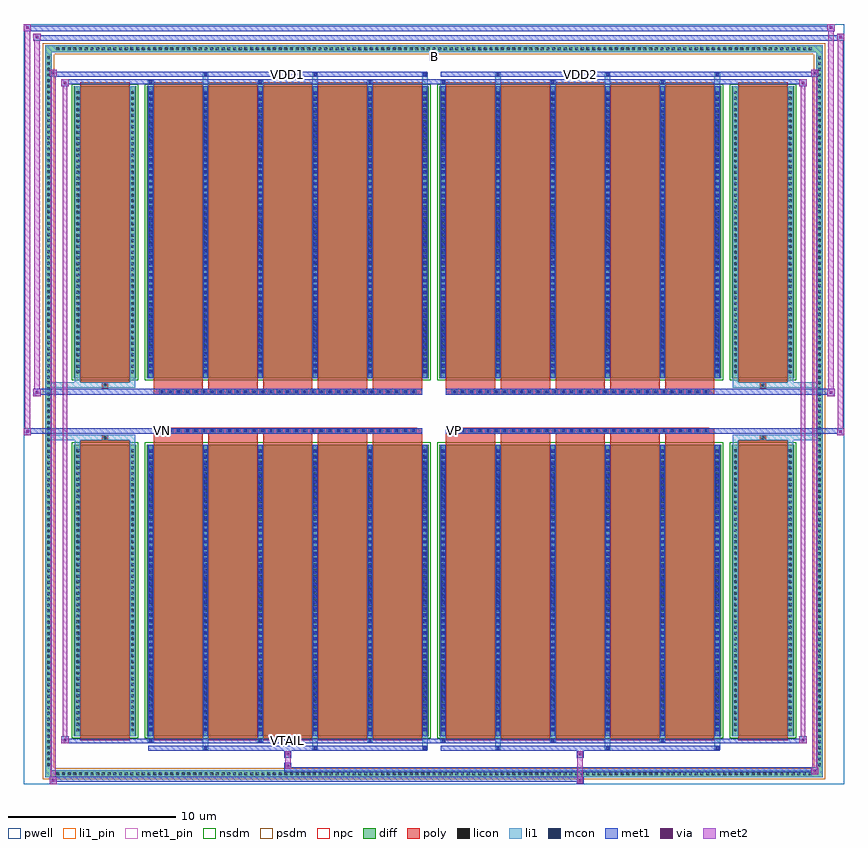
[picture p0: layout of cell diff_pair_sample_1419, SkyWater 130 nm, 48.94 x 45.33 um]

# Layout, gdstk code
import gdstk
lib = gdstk.Library(unit=1e-6, precision=5e-09)
def R(c, l, rs):  # rectangles x0, y0, x1, y1
    for r in rs: c.add(gdstk.rectangle(r[:2], r[2:], *l))
def A(c, l, x, y, w, h, nx, ny, dx, dy):  # array of equal rectangles
    R(c, l, [(x+i*dx, y+j*dy, x+i*dx+w, y+j*dy+h) for i in range(nx) for j in range(ny)])
def P(c, l, *ps):  # polygons
    for p in ps: c.add(gdstk.Polygon(p, *l))
pwell = (64, 44)
diff = (65, 20)
poly = (66, 20)
licon = (66, 44)
li1_pin = (67, 16)
li1 = (67, 20)
mcon = (67, 44)
met1_pin = (68, 16)
met1 = (68, 20)
via = (68, 44)
met2 = (69, 20)
nsdm = (93, 44)
psdm = (94, 20)
npc = (95, 20)

diff_pair_sample_1419 = lib.new_cell('diff_pair_sample_1419')
R(diff_pair_sample_1419, pwell, [(-24.47,-22.23,24.47,23.1), (-21.79,-20.42,-0.01,-0.8), (0.01,-20.42,21.79,-0.8), (-21.79,0.8,-0.01,20.42), (0.01,0.8,21.79,20.42)])
A(diff_pair_sample_1419, diff, -22.645, -21.83, 0.41, 0.41, 133, 2, 0.34, 43.25)
A(diff_pair_sample_1419, diff, -23.2, -21.285, 0.41, 0.41, 1, 125, 0, 0.34)
A(diff_pair_sample_1419, diff, 22.79, -21.285, 0.41, 0.41, 1, 125, 0, 0.34)
R(diff_pair_sample_1419, diff, [(-22.645,-21.83,22.645,-21.42), (-23.2,-21.285,-22.79,21.285), (22.79,-21.285,23.2,21.285), (-21.48,-19.375,-17.76,-1.985), (-17.12,-19.375,-0.32,-1.985), (0.32,-19.375,17.12,-1.985), (17.76,-19.375,21.48,-1.985), (-21.48,1.985,-17.76,19.375), (-17.12,1.985,-0.32,19.375), (0.32,1.985,17.12,19.375), (17.76,1.985,21.48,19.375), (-22.645,21.42,22.645,21.83)])
P(diff_pair_sample_1419, diff, [(23.2,21.83),(-23.2,21.83),(-23.2,-21.42),(-22.79,-21.42),(-22.79,21.42),(22.79,21.42),(22.79,-21.42),(-22.79,-21.42),(-23.2,-21.42),(-23.2,-21.83),(23.2,-21.83)])
A(diff_pair_sample_1419, poly, -16.73, -19.625, 2.94, 17.89, 5, 2, 3.27, 21.36)
A(diff_pair_sample_1419, poly, 0.71, -19.625, 2.94, 17.89, 5, 2, 3.27, 21.36)
A(diff_pair_sample_1419, poly, -16.73, -1.735, 2.94, 0.405, 5, 2, 3.27, 3.065)
A(diff_pair_sample_1419, poly, 0.71, -1.735, 2.94, 0.405, 5, 2, 3.27, 3.065)
A(diff_pair_sample_1419, poly, -16.385, -1.33, 0.33, 0.33, 31, 2, 0.5, 2.33)
A(diff_pair_sample_1419, poly, 1.055, -1.33, 0.33, 0.33, 31, 2, 0.5, 2.33)
R(diff_pair_sample_1419, poly, [(-21.09,-19.625,-18.15,-1.735), (18.15,-19.625,21.09,-1.735), (-19.785,-1.735,-19.455,-1.405), (-19.785,-1.735,-19.455,-1.405), (19.455,-1.735,19.785,-1.405), (19.455,-1.735,19.785,-1.405), (-16.73,-1.33,-0.71,-1), (0.71,-1.33,16.73,-1), (-16.73,1,-0.71,1.33), (0.71,1,16.73,1.33), (-19.785,1.405,-19.455,1.735), (-19.785,1.405,-19.455,1.735), (19.455,1.405,19.785,1.735), (19.455,1.405,19.785,1.735), (-21.09,1.735,-18.15,19.625), (18.15,1.735,21.09,19.625)])
A(diff_pair_sample_1419, licon, -22.525, -21.71, 0.17, 0.17, 133, 2, 0.34, 43.25)
A(diff_pair_sample_1419, licon, -23.08, -21.165, 0.17, 0.17, 1, 125, 0, 0.34)
A(diff_pair_sample_1419, licon, 22.91, -21.165, 0.17, 0.17, 1, 125, 0, 0.34)
A(diff_pair_sample_1419, licon, -21.34, -19.095, 0.17, 0.17, 1, 50, 0, 0.34)
A(diff_pair_sample_1419, licon, -18.07, -19.095, 0.17, 0.17, 1, 50, 0, 0.34)
A(diff_pair_sample_1419, licon, -16.98, -19.095, 0.17, 0.17, 6, 50, 3.27, 0.34)
A(diff_pair_sample_1419, licon, 0.46, -19.095, 0.17, 0.17, 6, 50, 3.27, 0.34)
A(diff_pair_sample_1419, licon, 17.9, -19.095, 0.17, 0.17, 1, 50, 0, 0.34)
A(diff_pair_sample_1419, licon, 21.17, -19.095, 0.17, 0.17, 1, 50, 0, 0.34)
A(diff_pair_sample_1419, licon, -16.305, -1.25, 0.17, 0.17, 31, 2, 0.5, 2.33)
A(diff_pair_sample_1419, licon, 1.135, -1.25, 0.17, 0.17, 31, 2, 0.5, 2.33)
A(diff_pair_sample_1419, licon, -21.34, 2.265, 0.17, 0.17, 1, 50, 0, 0.34)
A(diff_pair_sample_1419, licon, -18.07, 2.265, 0.17, 0.17, 1, 50, 0, 0.34)
A(diff_pair_sample_1419, licon, -16.98, 2.265, 0.17, 0.17, 6, 50, 3.27, 0.34)
A(diff_pair_sample_1419, licon, 0.46, 2.265, 0.17, 0.17, 6, 50, 3.27, 0.34)
A(diff_pair_sample_1419, licon, 17.9, 2.265, 0.17, 0.17, 1, 50, 0, 0.34)
A(diff_pair_sample_1419, licon, 21.17, 2.265, 0.17, 0.17, 1, 50, 0, 0.34)
R(diff_pair_sample_1419, licon, [(-19.705,-1.655,-19.535,-1.485), (19.535,-1.655,19.705,-1.485), (-19.705,1.485,-19.535,1.655), (19.535,1.485,19.705,1.655)])
R(diff_pair_sample_1419, li1_pin, [(-0.25,20.92,0.25,21.42)])
A(diff_pair_sample_1419, li1, -22.605, -21.79, 0.33, 0.33, 133, 2, 0.34, 43.25)
A(diff_pair_sample_1419, li1, -23.16, -21.245, 0.33, 0.33, 1, 125, 0, 0.34)
A(diff_pair_sample_1419, li1, 22.83, -21.245, 0.33, 0.33, 1, 125, 0, 0.34)
A(diff_pair_sample_1419, li1, -13.79, -20.18, 0.33, 0.805, 3, 2, 6.54, 39.555)
A(diff_pair_sample_1419, li1, -13.71, -20.18, 0.17, 0.17, 3, 2, 6.54, 40.19)
A(diff_pair_sample_1419, li1, 3.65, -20.18, 0.33, 0.805, 3, 2, 6.54, 39.555)
A(diff_pair_sample_1419, li1, 3.73, -20.18, 0.17, 0.17, 3, 2, 6.54, 40.19)
A(diff_pair_sample_1419, li1, -17.06, -19.75, 0.33, 0.375, 3, 2, 6.54, 39.125)
A(diff_pair_sample_1419, li1, -16.98, -19.75, 0.17, 0.17, 3, 2, 6.54, 39.33)
A(diff_pair_sample_1419, li1, 0.38, -19.75, 0.33, 0.375, 3, 2, 6.54, 39.125)
A(diff_pair_sample_1419, li1, 0.46, -19.75, 0.17, 0.17, 3, 2, 6.54, 39.33)
A(diff_pair_sample_1419, li1, -17.06, -19.375, 0.33, 17.39, 6, 2, 3.27, 21.36)
A(diff_pair_sample_1419, li1, 0.38, -19.375, 0.33, 17.39, 6, 2, 3.27, 21.36)
A(diff_pair_sample_1419, li1, -21.42, -19.175, 0.33, 0.33, 1, 50, 0, 0.34)
A(diff_pair_sample_1419, li1, -18.15, -19.175, 0.33, 0.33, 1, 50, 0, 0.34)
A(diff_pair_sample_1419, li1, -17.06, -19.175, 0.33, 0.33, 6, 50, 3.27, 0.34)
A(diff_pair_sample_1419, li1, 0.38, -19.175, 0.33, 0.33, 6, 50, 3.27, 0.34)
A(diff_pair_sample_1419, li1, 17.82, -19.175, 0.33, 0.33, 1, 50, 0, 0.34)
A(diff_pair_sample_1419, li1, 21.09, -19.175, 0.33, 0.33, 1, 50, 0, 0.34)
A(diff_pair_sample_1419, li1, -16.98, -19.045, 0.17, 0.17, 6, 47, 3.27, 0.36)
A(diff_pair_sample_1419, li1, -16.98, -19.045, 0.17, 16.73, 6, 2, 3.27, 21.36)
A(diff_pair_sample_1419, li1, 0.46, -19.045, 0.17, 0.17, 6, 47, 3.27, 0.36)
A(diff_pair_sample_1419, li1, 0.46, -19.045, 0.17, 16.73, 6, 2, 3.27, 21.36)
A(diff_pair_sample_1419, li1, -16.385, -1.33, 0.33, 0.33, 31, 2, 0.5, 2.33)
A(diff_pair_sample_1419, li1, 1.055, -1.33, 0.33, 0.33, 31, 2, 0.5, 2.33)
A(diff_pair_sample_1419, li1, -21.42, 2.185, 0.33, 0.33, 1, 50, 0, 0.34)
A(diff_pair_sample_1419, li1, -18.15, 2.185, 0.33, 0.33, 1, 50, 0, 0.34)
A(diff_pair_sample_1419, li1, -17.06, 2.185, 0.33, 0.33, 6, 50, 3.27, 0.34)
A(diff_pair_sample_1419, li1, 0.38, 2.185, 0.33, 0.33, 6, 50, 3.27, 0.34)
A(diff_pair_sample_1419, li1, 17.82, 2.185, 0.33, 0.33, 1, 50, 0, 0.34)
A(diff_pair_sample_1419, li1, 21.09, 2.185, 0.33, 0.33, 1, 50, 0, 0.34)
A(diff_pair_sample_1419, li1, -16.98, 2.315, 0.17, 0.17, 6, 47, 3.27, 0.36)
A(diff_pair_sample_1419, li1, 0.46, 2.315, 0.17, 0.17, 6, 47, 3.27, 0.36)
R(diff_pair_sample_1419, li1, [(-23.2,-21.83,-22.79,-21.42), (-23.2,-21.83,-22.79,-21.42), (-22.79,-21.83,22.79,-21.42), (22.79,-21.83,23.2,-21.42), (22.79,-21.83,23.2,-21.42), (-23.2,-21.42,-22.79,21.42), (22.79,-21.42,23.2,21.42), (-21.42,-19.375,-21.09,-1.985), (-18.15,-19.375,-17.82,-1.985), (17.82,-19.375,18.15,-1.985), (21.09,-19.375,21.42,-1.985), (-21.42,-1.985,-21.09,-1.405), (-18.15,-1.985,-17.82,-1.405), (17.82,-1.985,18.15,-1.405), (21.09,-1.985,21.42,-1.405), (-23.2,-1.735,-19.785,-1.405), (-21.42,-1.735,-19.785,-1.405), (-19.785,-1.735,-19.455,-1.405), (-19.455,-1.735,-17.82,-1.405), (17.82,-1.735,19.455,-1.405), (19.455,-1.735,19.785,-1.405), (19.455,-1.735,23.2,-1.405), (19.785,-1.735,21.42,-1.405), (-23.2,1.405,-19.785,1.735), (-21.42,1.405,-19.785,1.735), (-21.42,1.405,-21.09,1.985), (-19.785,1.405,-19.455,1.735), (-19.455,1.405,-17.82,1.735), (-18.15,1.405,-17.82,1.985), (17.82,1.405,19.455,1.735), (17.82,1.405,18.15,1.985), (19.455,1.405,19.785,1.735), (19.455,1.405,23.2,1.735), (19.785,1.405,21.42,1.735), (21.09,1.405,21.42,1.985), (-21.42,1.985,-21.09,19.375), (-18.15,1.985,-17.82,19.375), (17.82,1.985,18.15,19.375), (21.09,1.985,21.42,19.375), (-23.2,21.42,-22.79,21.83), (-23.2,21.42,-22.79,21.83), (-22.79,21.42,22.79,21.83), (22.79,21.42,23.2,21.83), (22.79,21.42,23.2,21.83)])
A(diff_pair_sample_1419, mcon, -13.71, -20.18, 0.17, 0.17, 3, 2, 6.54, 40.19)
A(diff_pair_sample_1419, mcon, 3.73, -20.18, 0.17, 0.17, 3, 2, 6.54, 40.19)
A(diff_pair_sample_1419, mcon, -16.98, -19.75, 0.17, 0.17, 3, 2, 6.54, 39.33)
A(diff_pair_sample_1419, mcon, 0.46, -19.75, 0.17, 0.17, 3, 2, 6.54, 39.33)
A(diff_pair_sample_1419, mcon, -16.98, -19.045, 0.17, 0.17, 6, 47, 3.27, 0.36)
A(diff_pair_sample_1419, mcon, 0.46, -19.045, 0.17, 0.17, 6, 47, 3.27, 0.36)
A(diff_pair_sample_1419, mcon, -16.305, -1.25, 0.17, 0.17, 31, 2, 0.5, 2.33)
A(diff_pair_sample_1419, mcon, 1.135, -1.25, 0.17, 0.17, 31, 2, 0.5, 2.33)
A(diff_pair_sample_1419, mcon, -16.98, 2.315, 0.17, 0.17, 6, 47, 3.27, 0.36)
A(diff_pair_sample_1419, mcon, 0.46, 2.315, 0.17, 0.17, 6, 47, 3.27, 0.36)
R(diff_pair_sample_1419, met1_pin, [(-8.855,-19.79,-8.585,-19.52), (-16.355,-1.29,-16.085,-1.02), (1.085,-1.29,1.355,-1.02), (-8.855,19.97,-8.585,20.24), (8.585,19.97,8.855,20.24)])
A(diff_pair_sample_1419, met1, -13.77, -20.24, 0.29, 0.29, 3, 2, 6.54, 40.19)
A(diff_pair_sample_1419, met1, 3.67, -20.24, 0.29, 0.29, 3, 2, 6.54, 40.19)
A(diff_pair_sample_1419, met1, -17.04, -19.81, 0.29, 0.29, 3, 2, 6.54, 39.33)
A(diff_pair_sample_1419, met1, 0.4, -19.81, 0.29, 0.29, 3, 2, 6.54, 39.33)
A(diff_pair_sample_1419, met1, -17.04, -19.375, 0.29, 17.39, 6, 2, 3.27, 21.36)
A(diff_pair_sample_1419, met1, 0.4, -19.375, 0.29, 17.39, 6, 2, 3.27, 21.36)
A(diff_pair_sample_1419, met1, -17.04, -19.105, 0.29, 0.29, 6, 47, 3.27, 0.36)
A(diff_pair_sample_1419, met1, 0.4, -19.105, 0.29, 0.29, 6, 47, 3.27, 0.36)
A(diff_pair_sample_1419, met1, -16.365, -1.31, 0.29, 0.29, 31, 2, 0.5, 2.33)
A(diff_pair_sample_1419, met1, 1.075, -1.31, 0.29, 0.29, 31, 2, 0.5, 2.33)
A(diff_pair_sample_1419, met1, -17.04, 2.255, 0.29, 0.29, 6, 47, 3.27, 0.36)
A(diff_pair_sample_1419, met1, 0.4, 2.255, 0.29, 0.29, 6, 47, 3.27, 0.36)
R(diff_pair_sample_1419, met1, [(-22.93,-22.23,-22.5,-21.8), (8.505,-22.23,8.935,-21.8), (-22.93,-22.09,8.935,-21.8), (22.5,-21.66,22.93,-21.23), (-8.935,-21.52,22.93,-21.23), (-8.935,-21.38,-8.505,-20.95), (-8.935,-20.67,-8.505,-20.24), (8.505,-20.67,8.935,-20.24), (-17.04,-20.24,-0.4,-19.95), (0.4,-20.24,17.04,-19.95), (-22.22,-19.81,-21.79,-19.38), (-22.22,-19.81,-17.04,-19.52), (-17.04,-19.81,-0.4,-19.52), (-0.4,-19.81,0.4,-19.52), (0.4,-19.81,17.04,-19.52), (17.04,-19.81,22.22,-19.52), (21.79,-19.81,22.22,-19.38), (-24.47,-1.43,-24.04,-1), (24.04,-1.43,24.47,-1), (-24.47,-1.33,-0.71,-1), (-16.73,-1.33,-0.71,-1), (0.71,-1.33,16.73,-1), (0.71,-1.33,24.47,-1), (-23.9,0.9,-23.47,1.33), (23.47,0.9,23.9,1.33), (-23.9,1,-16.73,1.33), (-16.73,1,-0.71,1.33), (0.71,1,16.73,1.33), (16.73,1,23.9,1.33), (-22.22,19.38,-21.79,19.81), (21.79,19.38,22.22,19.81), (-22.22,19.52,-17.04,19.81), (-17.04,19.52,-0.4,19.81), (-0.4,19.52,0.4,19.81), (0.4,19.52,17.04,19.81), (17.04,19.52,22.22,19.81), (-22.93,19.95,-22.5,20.38), (-22.93,19.95,-17.04,20.24), (-17.04,19.95,-0.4,20.24), (0.4,19.95,17.04,20.24), (17.04,19.95,22.93,20.24), (22.5,19.95,22.93,20.38), (-23.9,22.1,-23.47,22.53), (-23.9,22.1,-21.79,22.43), (-21.79,22.1,21.79,22.43), (21.79,22.1,24.47,22.43), (24.04,22.1,24.47,22.53), (-24.47,22.67,-24.04,23.1), (-24.47,22.67,-21.79,23), (-21.79,22.67,21.79,23), (21.79,22.67,23.9,23), (23.47,22.67,23.9,23.1)])
R(diff_pair_sample_1419, via, [(-22.79,-22.09,-22.64,-21.94), (8.645,-22.09,8.795,-21.94), (22.64,-21.52,22.79,-21.37), (-8.795,-21.24,-8.645,-21.09), (-8.795,-20.53,-8.645,-20.38), (8.645,-20.53,8.795,-20.38), (-22.08,-19.67,-21.93,-19.52), (21.93,-19.67,22.08,-19.52), (-24.33,-1.29,-24.18,-1.14), (24.18,-1.29,24.33,-1.14), (-23.76,1.04,-23.61,1.19), (23.61,1.04,23.76,1.19), (-22.08,19.52,-21.93,19.67), (21.93,19.52,22.08,19.67), (-22.79,20.09,-22.64,20.24), (22.64,20.09,22.79,20.24), (-23.76,22.24,-23.61,22.39), (24.18,22.24,24.33,22.39), (-24.33,22.81,-24.18,22.96), (23.61,22.81,23.76,22.96)])
R(diff_pair_sample_1419, met2, [(-22.93,-22.23,-22.5,-21.8), (-22.86,-22.23,-22.57,20.38), (-22.57,-22.23,-22.5,-21.8), (-22.88,-22.18,-22.55,-21.85), (8.555,-22.18,8.885,-21.85), (8.555,-21.85,8.885,-20.62), (22.5,-21.66,22.93,-21.23), (22.57,-21.66,22.86,20.38), (22.86,-21.66,22.93,-21.23), (22.55,-21.61,22.88,-21.28), (-8.885,-21.33,-8.555,-21), (-8.885,-21,-8.555,-20.62), (-8.885,-20.62,-8.555,-20.29), (8.555,-20.62,8.885,-20.29), (-22.22,-19.81,-21.79,-19.38), (-22.15,-19.81,-21.86,19.81), (-21.86,-19.81,-21.79,-19.38), (21.79,-19.81,22.22,-19.38), (21.86,-19.81,22.15,19.81), (22.15,-19.81,22.22,-19.38), (-22.17,-19.76,-21.84,-19.43), (21.84,-19.76,22.17,-19.43), (-24.47,-1.43,-24.04,-1), (-24.42,-1.43,-24.09,23.1), (-24.09,-1.43,-24.04,-1), (24.04,-1.43,24.47,-1), (24.09,-1.43,24.42,22.53), (24.42,-1.43,24.47,-1), (-24.42,-1.38,-24.09,-1.05), (24.09,-1.38,24.42,-1.05), (-23.9,0.9,-23.47,1.33), (-23.85,0.9,-23.52,22.53), (-23.52,0.9,-23.47,1.33), (23.47,0.9,23.9,1.33), (23.52,0.9,23.85,23.1), (23.85,0.9,23.9,1.33), (-23.85,0.95,-23.52,1.28), (23.52,0.95,23.85,1.28), (-22.22,19.38,-21.79,19.81), (-21.86,19.38,-21.79,19.81), (21.79,19.38,22.22,19.81), (22.15,19.38,22.22,19.81), (-22.17,19.43,-21.84,19.76), (21.84,19.43,22.17,19.76), (-22.93,19.95,-22.5,20.38), (-22.57,19.95,-22.5,20.38), (22.5,19.95,22.93,20.38), (22.86,19.95,22.93,20.38), (-22.88,20,-22.55,20.33), (22.55,20,22.88,20.33), (-23.9,22.1,-23.47,22.53), (-23.52,22.1,-23.47,22.53), (24.04,22.1,24.47,22.53), (24.42,22.1,24.47,22.53), (-23.85,22.15,-23.52,22.48), (24.09,22.15,24.42,22.48), (-24.47,22.67,-24.04,23.1), (-24.09,22.67,-24.04,23.1), (23.47,22.67,23.9,23.1), (23.85,22.67,23.9,23.1), (-24.42,22.72,-24.09,23.05), (23.52,22.72,23.85,23.05)])
R(diff_pair_sample_1419, nsdm, [(-21.61,-19.505,-17.63,-1.855), (-17.25,-19.505,-0.19,-1.855), (0.19,-19.505,17.25,-1.855), (17.63,-19.505,21.61,-1.855), (-21.61,1.855,-17.63,19.505), (-17.25,1.855,-0.19,19.505), (0.19,1.855,17.25,19.505), (17.63,1.855,21.61,19.505)])
P(diff_pair_sample_1419, psdm, [(23.33,21.96),(-23.33,21.96),(-23.33,-21.29),(-22.66,-21.29),(-22.66,21.29),(22.66,21.29),(22.66,-21.29),(-22.66,-21.29),(-23.33,-21.29),(-23.33,-21.96),(23.33,-21.96)])
A(diff_pair_sample_1419, npc, -16.405, -1.35, 0.37, 0.37, 31, 2, 0.5, 2.33)
A(diff_pair_sample_1419, npc, 1.035, -1.35, 0.37, 0.37, 31, 2, 0.5, 2.33)
R(diff_pair_sample_1419, npc, [(-19.805,-1.755,-19.435,-1.385), (19.435,-1.755,19.805,-1.385), (-16.405,-1.35,-15.535,-0.98), (-16.405,-1.35,-15.535,-0.98), (-15.905,-1.35,-15.035,-0.98), (-15.905,-1.35,-15.035,-0.98), (-15.405,-1.35,-14.535,-0.98), (-15.405,-1.35,-14.535,-0.98), (-14.905,-1.35,-14.035,-0.98), (-14.905,-1.35,-14.035,-0.98), (-14.405,-1.35,-13.535,-0.98), (-14.405,-1.35,-13.535,-0.98), (-13.905,-1.35,-13.035,-0.98), (-13.905,-1.35,-13.035,-0.98), (-13.405,-1.35,-12.535,-0.98), (-13.405,-1.35,-12.535,-0.98), (-12.905,-1.35,-12.035,-0.98), (-12.905,-1.35,-12.035,-0.98), (-12.405,-1.35,-11.535,-0.98), (-12.405,-1.35,-11.535,-0.98), (-11.905,-1.35,-11.035,-0.98), (-11.905,-1.35,-11.035,-0.98), (-11.405,-1.35,-10.535,-0.98), (-11.405,-1.35,-10.535,-0.98), (-10.905,-1.35,-10.035,-0.98), (-10.905,-1.35,-10.035,-0.98), (-10.405,-1.35,-9.535,-0.98), (-10.405,-1.35,-9.535,-0.98), (-9.905,-1.35,-9.035,-0.98), (-9.905,-1.35,-9.035,-0.98), (-9.405,-1.35,-8.535,-0.98), (-9.405,-1.35,-8.535,-0.98), (-8.905,-1.35,-8.035,-0.98), (-8.905,-1.35,-8.035,-0.98), (-8.405,-1.35,-7.535,-0.98), (-8.405,-1.35,-7.535,-0.98), (-7.905,-1.35,-7.035,-0.98), (-7.905,-1.35,-7.035,-0.98), (-7.405,-1.35,-6.535,-0.98), (-7.405,-1.35,-6.535,-0.98), (-6.905,-1.35,-6.035,-0.98), (-6.905,-1.35,-6.035,-0.98), (-6.405,-1.35,-5.535,-0.98), (-6.405,-1.35,-5.535,-0.98), (-5.905,-1.35,-5.035,-0.98), (-5.905,-1.35,-5.035,-0.98), (-5.405,-1.35,-4.535,-0.98), (-5.405,-1.35,-4.535,-0.98), (-4.905,-1.35,-4.035,-0.98), (-4.905,-1.35,-4.035,-0.98), (-4.405,-1.35,-3.535,-0.98), (-4.405,-1.35,-3.535,-0.98), (-3.905,-1.35,-3.035,-0.98), (-3.905,-1.35,-3.035,-0.98), (-3.405,-1.35,-2.535,-0.98), (-3.405,-1.35,-2.535,-0.98), (-2.905,-1.35,-2.035,-0.98), (-2.905,-1.35,-2.035,-0.98), (-2.405,-1.35,-1.535,-0.98), (-2.405,-1.35,-1.535,-0.98), (-1.905,-1.35,-1.035,-0.98), (-1.905,-1.35,-1.035,-0.98), (1.035,-1.35,1.905,-0.98), (1.035,-1.35,1.905,-0.98), (1.535,-1.35,2.405,-0.98), (1.535,-1.35,2.405,-0.98), (2.035,-1.35,2.905,-0.98), (2.035,-1.35,2.905,-0.98), (2.535,-1.35,3.405,-0.98), (2.535,-1.35,3.405,-0.98), (3.035,-1.35,3.905,-0.98), (3.035,-1.35,3.905,-0.98), (3.535,-1.35,4.405,-0.98), (3.535,-1.35,4.405,-0.98), (4.035,-1.35,4.905,-0.98), (4.035,-1.35,4.905,-0.98), (4.535,-1.35,5.405,-0.98), (4.535,-1.35,5.405,-0.98), (5.035,-1.35,5.905,-0.98), (5.035,-1.35,5.905,-0.98), (5.535,-1.35,6.405,-0.98), (5.535,-1.35,6.405,-0.98), (6.035,-1.35,6.905,-0.98), (6.035,-1.35,6.905,-0.98), (6.535,-1.35,7.405,-0.98), (6.535,-1.35,7.405,-0.98), (7.035,-1.35,7.905,-0.98), (7.035,-1.35,7.905,-0.98), (7.535,-1.35,8.405,-0.98), (7.535,-1.35,8.405,-0.98), (8.035,-1.35,8.905,-0.98), (8.035,-1.35,8.905,-0.98), (8.535,-1.35,9.405,-0.98), (8.535,-1.35,9.405,-0.98), (9.035,-1.35,9.905,-0.98), (9.035,-1.35,9.905,-0.98), (9.535,-1.35,10.405,-0.98), (9.535,-1.35,10.405,-0.98), (10.035,-1.35,10.905,-0.98), (10.035,-1.35,10.905,-0.98), (10.535,-1.35,11.405,-0.98), (10.535,-1.35,11.405,-0.98), (11.035,-1.35,11.905,-0.98), (11.035,-1.35,11.905,-0.98), (11.535,-1.35,12.405,-0.98), (11.535,-1.35,12.405,-0.98), (12.035,-1.35,12.905,-0.98), (12.035,-1.35,12.905,-0.98), (12.535,-1.35,13.405,-0.98), (12.535,-1.35,13.405,-0.98), (13.035,-1.35,13.905,-0.98), (13.035,-1.35,13.905,-0.98), (13.535,-1.35,14.405,-0.98), (13.535,-1.35,14.405,-0.98), (14.035,-1.35,14.905,-0.98), (14.035,-1.35,14.905,-0.98), (14.535,-1.35,15.405,-0.98), (14.535,-1.35,15.405,-0.98), (15.035,-1.35,15.905,-0.98), (15.035,-1.35,15.905,-0.98), (15.535,-1.35,16.405,-0.98), (15.535,-1.35,16.405,-0.98), (-16.405,0.98,-15.535,1.35), (-16.405,0.98,-15.535,1.35), (-15.905,0.98,-15.035,1.35), (-15.905,0.98,-15.035,1.35), (-15.405,0.98,-14.535,1.35), (-15.405,0.98,-14.535,1.35), (-14.905,0.98,-14.035,1.35), (-14.905,0.98,-14.035,1.35), (-14.405,0.98,-13.535,1.35), (-14.405,0.98,-13.535,1.35), (-13.905,0.98,-13.035,1.35), (-13.905,0.98,-13.035,1.35), (-13.405,0.98,-12.535,1.35), (-13.405,0.98,-12.535,1.35), (-12.905,0.98,-12.035,1.35), (-12.905,0.98,-12.035,1.35), (-12.405,0.98,-11.535,1.35), (-12.405,0.98,-11.535,1.35), (-11.905,0.98,-11.035,1.35), (-11.905,0.98,-11.035,1.35), (-11.405,0.98,-10.535,1.35), (-11.405,0.98,-10.535,1.35), (-10.905,0.98,-10.035,1.35), (-10.905,0.98,-10.035,1.35), (-10.405,0.98,-9.535,1.35), (-10.405,0.98,-9.535,1.35), (-9.905,0.98,-9.035,1.35), (-9.905,0.98,-9.035,1.35), (-9.405,0.98,-8.535,1.35), (-9.405,0.98,-8.535,1.35), (-8.905,0.98,-8.035,1.35), (-8.905,0.98,-8.035,1.35), (-8.405,0.98,-7.535,1.35), (-8.405,0.98,-7.535,1.35), (-7.905,0.98,-7.035,1.35), (-7.905,0.98,-7.035,1.35), (-7.405,0.98,-6.535,1.35), (-7.405,0.98,-6.535,1.35), (-6.905,0.98,-6.035,1.35), (-6.905,0.98,-6.035,1.35), (-6.405,0.98,-5.535,1.35), (-6.405,0.98,-5.535,1.35), (-5.905,0.98,-5.035,1.35), (-5.905,0.98,-5.035,1.35), (-5.405,0.98,-4.535,1.35), (-5.405,0.98,-4.535,1.35), (-4.905,0.98,-4.035,1.35), (-4.905,0.98,-4.035,1.35), (-4.405,0.98,-3.535,1.35), (-4.405,0.98,-3.535,1.35), (-3.905,0.98,-3.035,1.35), (-3.905,0.98,-3.035,1.35), (-3.405,0.98,-2.535,1.35), (-3.405,0.98,-2.535,1.35), (-2.905,0.98,-2.035,1.35), (-2.905,0.98,-2.035,1.35), (-2.405,0.98,-1.535,1.35), (-2.405,0.98,-1.535,1.35), (-1.905,0.98,-1.035,1.35), (-1.905,0.98,-1.035,1.35), (1.035,0.98,1.905,1.35), (1.035,0.98,1.905,1.35), (1.535,0.98,2.405,1.35), (1.535,0.98,2.405,1.35), (2.035,0.98,2.905,1.35), (2.035,0.98,2.905,1.35), (2.535,0.98,3.405,1.35), (2.535,0.98,3.405,1.35), (3.035,0.98,3.905,1.35), (3.035,0.98,3.905,1.35), (3.535,0.98,4.405,1.35), (3.535,0.98,4.405,1.35), (4.035,0.98,4.905,1.35), (4.035,0.98,4.905,1.35), (4.535,0.98,5.405,1.35), (4.535,0.98,5.405,1.35), (5.035,0.98,5.905,1.35), (5.035,0.98,5.905,1.35), (5.535,0.98,6.405,1.35), (5.535,0.98,6.405,1.35), (6.035,0.98,6.905,1.35), (6.035,0.98,6.905,1.35), (6.535,0.98,7.405,1.35), (6.535,0.98,7.405,1.35), (7.035,0.98,7.905,1.35), (7.035,0.98,7.905,1.35), (7.535,0.98,8.405,1.35), (7.535,0.98,8.405,1.35), (8.035,0.98,8.905,1.35), (8.035,0.98,8.905,1.35), (8.535,0.98,9.405,1.35), (8.535,0.98,9.405,1.35), (9.035,0.98,9.905,1.35), (9.035,0.98,9.905,1.35), (9.535,0.98,10.405,1.35), (9.535,0.98,10.405,1.35), (10.035,0.98,10.905,1.35), (10.035,0.98,10.905,1.35), (10.535,0.98,11.405,1.35), (10.535,0.98,11.405,1.35), (11.035,0.98,11.905,1.35), (11.035,0.98,11.905,1.35), (11.535,0.98,12.405,1.35), (11.535,0.98,12.405,1.35), (12.035,0.98,12.905,1.35), (12.035,0.98,12.905,1.35), (12.535,0.98,13.405,1.35), (12.535,0.98,13.405,1.35), (13.035,0.98,13.905,1.35), (13.035,0.98,13.905,1.35), (13.535,0.98,14.405,1.35), (13.535,0.98,14.405,1.35), (14.035,0.98,14.905,1.35), (14.035,0.98,14.905,1.35), (14.535,0.98,15.405,1.35), (14.535,0.98,15.405,1.35), (15.035,0.98,15.905,1.35), (15.035,0.98,15.905,1.35), (15.535,0.98,16.405,1.35), (15.535,0.98,16.405,1.35), (-19.805,1.385,-19.435,1.755), (19.435,1.385,19.805,1.755)])
diff_pair_sample_1419.add(gdstk.Label('VTAIL', (-8.72,-19.655), layer=68, texttype=5))
diff_pair_sample_1419.add(gdstk.Label('VN', (-16.22,-1.155), layer=68, texttype=5))
diff_pair_sample_1419.add(gdstk.Label('VP', (1.22,-1.155), layer=68, texttype=5))
diff_pair_sample_1419.add(gdstk.Label('B', (0,21.17), layer=67, texttype=5))
diff_pair_sample_1419.add(gdstk.Label('VDD2', (8.72,20.105), layer=68, texttype=5))
diff_pair_sample_1419.add(gdstk.Label('VDD1', (-8.72,20.105), layer=68, texttype=5))

lib.write_gds('diff_pair_sample_1419.gds')
